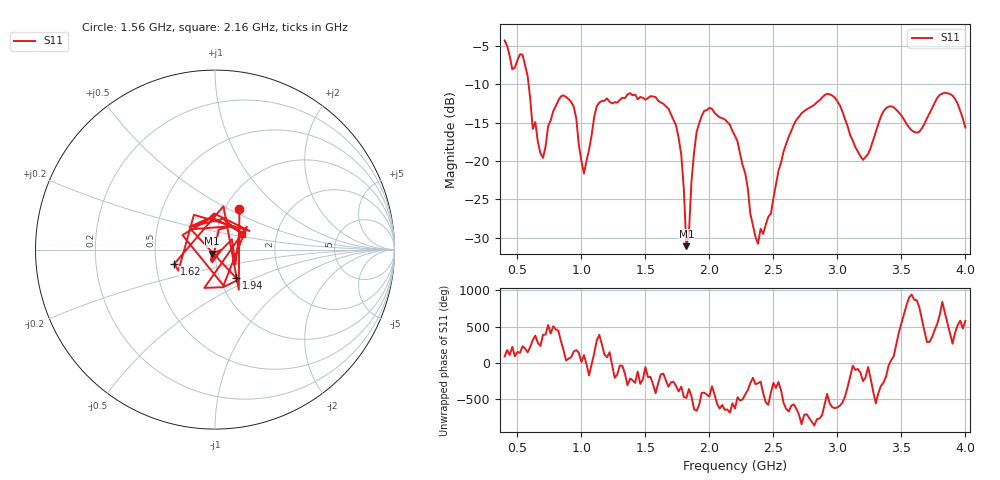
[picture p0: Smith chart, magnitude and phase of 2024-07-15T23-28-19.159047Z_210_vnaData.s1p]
!Created with skrf (http://scikit-rf.org).
# Hz S RI R 50.0
!freq ReS11 ImS11
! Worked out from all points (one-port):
!   181 points, 400 MHz to 4 GHz, reference 50 ohm
!   lowest |S11| = -31.1 dB at 1.82 GHz (marker M1), VSWR 1.06, Z = 48.4 - j2.23 ohm
!   |S11| at or under -10 dB: 587.2 MHz to end of sweep
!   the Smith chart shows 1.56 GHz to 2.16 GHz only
!   S11 on the Smith chart (normalised r, x): 1.56 GHz: 1.17, +0.56; 1.62 GHz: 0.62, -0.11; 1.94 GHz: 1.20, -0.39; 2.16 GHz: 1.32, +0.24
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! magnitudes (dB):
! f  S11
! 400 MHz  -4.3
! 460 MHz  -8.1
! 540 MHz  -6.2
! 620 MHz  -15.8
! 700 MHz  -19.6
! 860 MHz  -11.5
! 940 MHz  -12.9
! 1.02 GHz  -21.6
! 1.12 GHz  -12.9
! 1.3 GHz  -12.0
! 1.56 GHz  -11.6
! 1.62 GHz  -12.4
! 1.76 GHz  -17.1
! 1.8 GHz  -23.6
! 1.82 GHz  -31.1
! 1.88 GHz  -18.9
! 1.94 GHz  -14.1
! 2.16 GHz  -15.3
! 2.2 GHz  -16.7
! 2.38 GHz  -30.8
! 2.66 GHz  -15.3
! 2.94 GHz  -11.3
! 3.1 GHz  -16.7
! 3.2 GHz  -19.9
! 3.38 GHz  -13.1
! 3.56 GHz  -15.6
! 3.84 GHz  -11.1
! 4 GHz  -15.7
